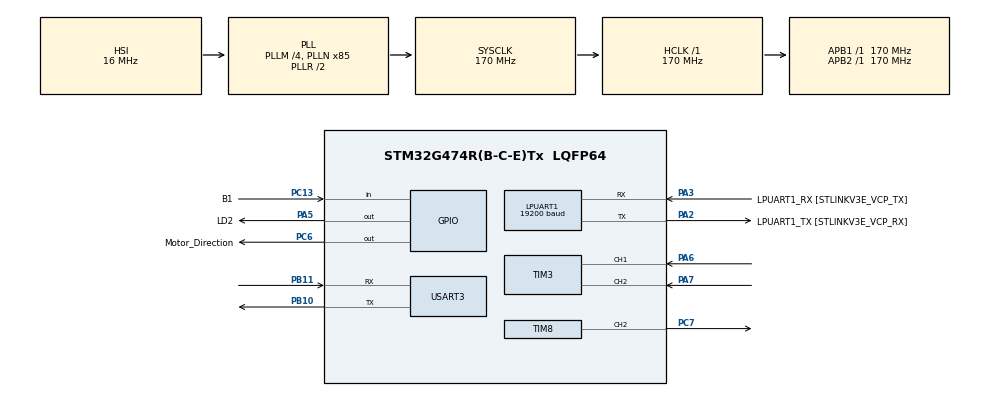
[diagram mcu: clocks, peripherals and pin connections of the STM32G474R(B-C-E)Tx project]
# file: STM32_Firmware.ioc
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LPUART1.BaudRate=19200
LPUART1.Parity=UART_PARITY_EVEN
LPUART1.WordLength=UART_WORDLENGTH_9B
Mcu.Family=STM32G4
Mcu.Name=STM32G474R(B-C-E)Tx
Mcu.Package=LQFP64
NVIC.LPUART1_IRQn=true\:0\:0\:false\:false\:true\:true\:true\:true
NVIC.PriorityGroup=NVIC_PRIORITYGROUP_4
NVIC.TIM1_UP_TIM16_IRQn=true\:0\:0\:false\:false\:true\:true\:true\:true
NVIC.TIM6_DAC_IRQn=true\:0\:0\:false\:false\:true\:true\:true\:true
NVIC.USART3_IRQn=true\:0\:0\:false\:false\:true\:true\:true\:true
PA13.GPIO_Label=T_SWDIO
PA13.Signal=SYS_JTMS-SWDIO
PA14.GPIO_Label=T_SWCLK
PA14.Signal=SYS_JTCK-SWCLK
PA2.GPIO_Label=LPUART1_TX [STLINKV3E_VCP_RX]
PA2.Mode=Asynchronous
PA2.Signal=LPUART1_TX
PA3.GPIO_Label=LPUART1_RX [STLINKV3E_VCP_TX]
PA3.Mode=Asynchronous
PA3.Signal=LPUART1_RX
PA5.GPIO_Label=LD2
PA5.Signal=GPIO_Output
PA6.Signal=S_TIM3_CH1
PA7.Signal=S_TIM3_CH2
PB10.Mode=Asynchronous
PB10.Signal=USART3_TX
PB11.Mode=Asynchronous
PB11.Signal=USART3_RX
PB3.GPIO_Label=T_SWO
PB3.Signal=SYS_JTDO-SWO
PC13.GPIO_Label=B1
PC13.Signal=GPIO_Input
PC14-OSC32_IN.GPIO_Label=RCC_OSC32_IN
PC14-OSC32_IN.Signal=RCC_OSC32_IN
PC15-OSC32_OUT.GPIO_Label=RCC_OSC32_OUT
PC15-OSC32_OUT.Signal=RCC_OSC32_OUT
PC6.GPIO_Label=Motor_Direction
PC6.Signal=GPIO_Output
PC7.Signal=S_TIM8_CH2
PF0-OSC_IN.GPIO_Label=RCC_OSC_IN
PF0-OSC_IN.Signal=RCC_OSC_IN
PF1-OSC_OUT.GPIO_Label=RCC_OSC_OUT
PF1-OSC_OUT.Signal=RCC_OSC_OUT
ProjectManager.HeapSize=0x200
ProjectManager.StackSize=0x400
ProjectManager.TargetToolchain=STM32CubeIDE
RCC.ADC12Freq_Value=170000000
RCC.ADC345Freq_Value=170000000
RCC.AHBFreq_Value=170000000
RCC.APB1Freq_Value=170000000
RCC.APB1TimFreq_Value=170000000
RCC.APB2Freq_Value=170000000
RCC.APB2TimFreq_Value=170000000
RCC.CortexFreq_Value=170000000
RCC.EXTERNAL_CLOCK_VALUE=12288000
RCC.HCLKFreq_Value=170000000
RCC.HSE_VALUE=24000000
RCC.HSI48_VALUE=48000000
RCC.HSI_VALUE=16000000
RCC.LPUART1CLockSelection=RCC_LPUART1CLKSOURCE_HSI
RCC.LSE_VALUE=32768
RCC.PLLM=RCC_PLLM_DIV4
RCC.PLLN=85
RCC.RTCClockSelection=RCC_RTCCLKSOURCE_LSE
RCC.SYSCLKFreq_VALUE=170000000
RCC.SYSCLKSource=RCC_SYSCLKSOURCE_PLLCLK
RCC.USBFreq_Value=170000000
RCC.VCOOutputFreq_Value=340000000
SH.S_TIM3_CH1.0=TIM3_CH1,Encoder_Interface
SH.S_TIM3_CH2.0=TIM3_CH2,Encoder_Interface
SH.S_TIM8_CH2.0=TIM8_CH2,PWM Generation2 CH2
TIM16.PeriodNoDither=49
TIM16.Prescaler=16999
TIM3.EncoderMode=TIM_ENCODERMODE_TI12
TIM6.AutoReloadPreload=TIM_AUTORELOAD_PRELOAD_ENABLE
TIM6.PeriodNoDither=9999
TIM6.Prescaler=169
TIM8.Channel-PWM\ Generation2\ CH2=TIM_CHANNEL_2
TIM8.PeriodNoDither=50
TIM8.Prescaler=169
USART3.VirtualMode-Asynchronous=VM_ASYNC
VP_SYS_VS_DBSignals.Mode=DisableDeadBatterySignals
VP_TIM16_VS_ClockSourceINT.Mode=Enable_Timer
VP_TIM6_VS_ClockSourceINT.Mode=Enable_Timer
board=NUCLEO-G474RE

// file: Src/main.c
/* USER CODE BEGIN Header */
/**
  ******************************************************************************
  * @file           : main.c
  * @brief          : Main program body
  ******************************************************************************
  * @attention
  *
  * Copyright (c) 2026 STMicroelectronics.
  * All rights reserved.
  *
  * This software is licensed under terms that can be found in the LICENSE file
  * in the root directory of this software component.
  * If no LICENSE file comes with this software, it is provided AS-IS.
  *
  ******************************************************************************
  */
/* USER CODE END Header */
#include "main.h"

/* USER CODE BEGIN Includes */
#include "motor_controller.h"
#include "modbus_bridge.h"
#include <string.h>
#include <stdio.h>
/* USER CODE END Includes */

UART_HandleTypeDef hlpuart1;
UART_HandleTypeDef huart3;

TIM_HandleTypeDef htim3;
TIM_HandleTypeDef htim6;
TIM_HandleTypeDef htim8;
TIM_HandleTypeDef htim16;

/* USER CODE BEGIN PV */
uint8_t rx_byte;
char rx_buffer[4];
uint8_t rx_index = 0;
uint8_t modbus_rx_byte;
/* USER CODE END PV */

void SystemClock_Config(void);
static void MX_GPIO_Init(void);
static void MX_LPUART1_UART_Init(void);
static void MX_USART3_UART_Init(void);
static void MX_TIM3_Init(void);
static void MX_TIM6_Init(void);
static void MX_TIM8_Init(void);
static void MX_TIM16_Init(void);

/* USER CODE BEGIN 0 */
void Modbus_RxCallback(UART_HandleTypeDef *huart)
{
  ModbusBridge_RxCallback(modbus_rx_byte);
  HAL_UART_Receive_IT(&hlpuart1, &modbus_rx_byte, 1);
}

void HAL_UART_ErrorCallback(UART_HandleTypeDef *huart)
{
  if (huart->Instance == LPUART1) {
    HAL_UART_Receive_IT(&hlpuart1, &modbus_rx_byte, 1);
  } else if (huart->Instance == USART3) {
    HAL_UART_Receive_IT(&huart3, &rx_byte, 1);
  }
}

void Timer_PeriodElapsedCallback(TIM_HandleTypeDef *htim)
{
  if (htim->Instance == TIM6) {
    Motor_ControlLoop();
  } else if (htim->Instance == TIM16) {
    ModbusBridge_TimerCallback();
  }
}

void Joystick_RxCallback(UART_HandleTypeDef *huart)
{
  Motor_ProcessCommand(rx_byte);
  HAL_UART_Receive_IT(&huart3, &rx_byte, 1);
}
/* USER CODE END 0 */

int main(void)
{

  /* MCU Configuration--------------------------------------------------------*/

  /* Reset of all peripherals, Initializes the Flash interface and the Systick. */
  HAL_Init();

  /* Configure the system clock */
  SystemClock_Config();

  /* Initialize all configured peripherals */
  MX_GPIO_Init();
  MX_LPUART1_UART_Init();
  MX_USART3_UART_Init();
  MX_TIM3_Init();
  MX_TIM6_Init();
  MX_TIM8_Init();
  MX_TIM16_Init();
  /* USER CODE BEGIN 2 */
  HAL_UART_RegisterCallback(&hlpuart1, HAL_UART_RX_COMPLETE_CB_ID, Modbus_RxCallback);
  HAL_UART_RegisterCallback(&huart3, HAL_UART_RX_COMPLETE_CB_ID, Joystick_RxCallback);
  HAL_UART_RegisterCallback(&hlpuart1, HAL_UART_ERROR_CB_ID, HAL_UART_ErrorCallback);
  HAL_UART_RegisterCallback(&huart3, HAL_UART_ERROR_CB_ID, HAL_UART_ErrorCallback);

  HAL_TIM_RegisterCallback(&htim6, HAL_TIM_PERIOD_ELAPSED_CB_ID, Timer_PeriodElapsedCallback);
  HAL_TIM_RegisterCallback(&htim16, HAL_TIM_PERIOD_ELAPSED_CB_ID, Timer_PeriodElapsedCallback);

  Motor_Init();
  Motor_SetVoltageLimit(12.0f, 12.0f);
  Motor_SetMotionProfile(250.0f, 500.0f, 0.1f);
  ModbusBridge_Init();

  HAL_UART_Receive_IT(&hlpuart1, &modbus_rx_byte, 1);
  HAL_UART_Receive_IT(&huart3, &rx_byte, 1);
  /* USER CODE END 2 */

  /* Infinite loop */
  /* USER CODE BEGIN WHILE */
  uint32_t last_matlab_tick = HAL_GetTick();
  while (1)
  {
    if (HAL_GetTick() - last_matlab_tick >= 20) {
      Motor_SendDataToMatlab();
      last_matlab_tick = HAL_GetTick();
    }
    ModbusBridge_UpdateRegisters();
    ModbusBridge_Process();
    /* USER CODE END WHILE */

  }
}

void SystemClock_Config(void)
{
  RCC_OscInitTypeDef RCC_OscInitStruct = {0};
  RCC_ClkInitTypeDef RCC_ClkInitStruct = {0};

  /** Configure the main internal regulator output voltage
  */
  HAL_PWREx_ControlVoltageScaling(PWR_REGULATOR_VOLTAGE_SCALE1_BOOST);

  /** Initializes the RCC Oscillators according to the specified parameters
  * in the RCC_OscInitTypeDef structure.
  */
  RCC_OscInitStruct.OscillatorType = RCC_OSCILLATORTYPE_HSI;
  RCC_OscInitStruct.HSIState = RCC_HSI_ON;
  RCC_OscInitStruct.HSICalibrationValue = RCC_HSICALIBRATION_DEFAULT;
  RCC_OscInitStruct.PLL.PLLState = RCC_PLL_ON;
  RCC_OscInitStruct.PLL.PLLSource = RCC_PLLSOURCE_HSI;
  RCC_OscInitStruct.PLL.PLLM = RCC_PLLM_DIV4;
  RCC_OscInitStruct.PLL.PLLN = 85;
  RCC_OscInitStruct.PLL.PLLP = RCC_PLLP_DIV2;
  RCC_OscInitStruct.PLL.PLLQ = RCC_PLLQ_DIV2;
  RCC_OscInitStruct.PLL.PLLR = RCC_PLLR_DIV2;
  if (HAL_RCC_OscConfig(&RCC_OscInitStruct) != HAL_OK)
  {
    Error_Handler();
  }

  /** Initializes the CPU, AHB and APB buses clocks
  */
  RCC_ClkInitStruct.ClockType = RCC_CLOCKTYPE_HCLK|RCC_CLOCKTYPE_SYSCLK
                              |RCC_CLOCKTYPE_PCLK1|RCC_CLOCKTYPE_PCLK2;
  RCC_ClkInitStruct.SYSCLKSource = RCC_SYSCLKSOURCE_PLLCLK;
  RCC_ClkInitStruct.AHBCLKDivider = RCC_SYSCLK_DIV1;
  RCC_ClkInitStruct.APB1CLKDivider = RCC_HCLK_DIV1;
  RCC_ClkInitStruct.APB2CLKDivider = RCC_HCLK_DIV1;

  if (HAL_RCC_ClockConfig(&RCC_ClkInitStruct, FLASH_LATENCY_4) != HAL_OK)
  {
    Error_Handler();
  }
}

static void MX_LPUART1_UART_Init(void)
{

  hlpuart1.Instance = LPUART1;
  hlpuart1.Init.BaudRate = 19200;
  hlpuart1.Init.WordLength = UART_WORDLENGTH_9B;
  hlpuart1.Init.StopBits = UART_STOPBITS_1;
  hlpuart1.Init.Parity = UART_PARITY_EVEN;
  hlpuart1.Init.Mode = UART_MODE_TX_RX;
  hlpuart1.Init.HwFlowCtl = UART_HWCONTROL_NONE;
  hlpuart1.Init.OneBitSampling = UART_ONE_BIT_SAMPLE_DISABLE;
  hlpuart1.Init.ClockPrescaler = UART_PRESCALER_DIV1;
  hlpuart1.AdvancedInit.AdvFeatureInit = UART_ADVFEATURE_NO_INIT;
  if (HAL_UART_Init(&hlpuart1) != HAL_OK)
  {
    Error_Handler();
  }
  if (HAL_UARTEx_SetTxFifoThreshold(&hlpuart1, UART_TXFIFO_THRESHOLD_1_8) != HAL_OK)
  {
    Error_Handler();
  }
  if (HAL_UARTEx_SetRxFifoThreshold(&hlpuart1, UART_RXFIFO_THRESHOLD_1_8) != HAL_OK)
  {
    Error_Handler();
  }
  if (HAL_UARTEx_DisableFifoMode(&hlpuart1) != HAL_OK)
  {
    Error_Handler();
  }

}

static void MX_USART3_UART_Init(void)
{

  huart3.Instance = USART3;
  huart3.Init.BaudRate = 115200;
  huart3.Init.WordLength = UART_WORDLENGTH_8B;
  huart3.Init.StopBits = UART_STOPBITS_1;
  huart3.Init.Parity = UART_PARITY_NONE;
  huart3.Init.Mode = UART_MODE_TX_RX;
  huart3.Init.HwFlowCtl = UART_HWCONTROL_NONE;
  huart3.Init.OverSampling = UART_OVERSAMPLING_16;
  huart3.Init.OneBitSampling = UART_ONE_BIT_SAMPLE_DISABLE;
  huart3.Init.ClockPrescaler = UART_PRESCALER_DIV1;
  huart3.AdvancedInit.AdvFeatureInit = UART_ADVFEATURE_NO_INIT;
  if (HAL_UART_Init(&huart3) != HAL_OK)
  {
    Error_Handler();
  }
  if (HAL_UARTEx_SetTxFifoThreshold(&huart3, UART_TXFIFO_THRESHOLD_1_8) != HAL_OK)
  {
    Error_Handler();
  }
  if (HAL_UARTEx_SetRxFifoThreshold(&huart3, UART_RXFIFO_THRESHOLD_1_8) != HAL_OK)
  {
    Error_Handler();
  }
  if (HAL_UARTEx_DisableFifoMode(&huart3) != HAL_OK)
  {
    Error_Handler();
  }

}

static void MX_TIM3_Init(void)
{

  TIM_Encoder_InitTypeDef sConfig = {0};
  TIM_MasterConfigTypeDef sMasterConfig = {0};

  htim3.Instance = TIM3;
  htim3.Init.Prescaler = 0;
  htim3.Init.CounterMode = TIM_COUNTERMODE_UP;
  htim3.Init.Period = 65535;
  htim3.Init.ClockDivision = TIM_CLOCKDIVISION_DIV1;
  htim3.Init.AutoReloadPreload = TIM_AUTORELOAD_PRELOAD_DISABLE;
  sConfig.EncoderMode = TIM_ENCODERMODE_TI12;
  sConfig.IC1Polarity = TIM_ICPOLARITY_RISING;
  sConfig.IC1Selection = TIM_ICSELECTION_DIRECTTI;
  sConfig.IC1Prescaler = TIM_ICPSC_DIV1;
  sConfig.IC1Filter = 0;
  sConfig.IC2Polarity = TIM_ICPOLARITY_RISING;
  sConfig.IC2Selection = TIM_ICSELECTION_DIRECTTI;
  sConfig.IC2Prescaler = TIM_ICPSC_DIV1;
  sConfig.IC2Filter = 0;
  if (HAL_TIM_Encoder_Init(&htim3, &sConfig) != HAL_OK)
  {
    Error_Handler();
  }
  sMasterConfig.MasterOutputTrigger = TIM_TRGO_RESET;
  sMasterConfig.MasterSlaveMode = TIM_MASTERSLAVEMODE_DISABLE;
  if (HAL_TIMEx_MasterConfigSynchronization(&htim3, &sMasterConfig) != HAL_OK)
  {
    Error_Handler();
  }

}

static void MX_TIM6_Init(void)
{

  TIM_MasterConfigTypeDef sMasterConfig = {0};

  htim6.Instance = TIM6;
  htim6.Init.Prescaler = 169;
  htim6.Init.CounterMode = TIM_COUNTERMODE_UP;
  htim6.Init.Period = 9999;
  htim6.Init.AutoReloadPreload = TIM_AUTORELOAD_PRELOAD_ENABLE;
  if (HAL_TIM_Base_Init(&htim6) != HAL_OK)
  {
    Error_Handler();
  }
  sMasterConfig.MasterOutputTrigger = TIM_TRGO_RESET;
  sMasterConfig.MasterSlaveMode = TIM_MASTERSLAVEMODE_DISABLE;
  if (HAL_TIMEx_MasterConfigSynchronization(&htim6, &sMasterConfig) != HAL_OK)
  {
    Error_Handler();
  }

}

static void MX_TIM8_Init(void)
{

  TIM_MasterConfigTypeDef sMasterConfig = {0};
  TIM_OC_InitTypeDef sConfigOC = {0};
  TIM_BreakDeadTimeConfigTypeDef sBreakDeadTimeConfig = {0};

  htim8.Instance = TIM8;
  htim8.Init.Prescaler = 169;
  htim8.Init.CounterMode = TIM_COUNTERMODE_UP;
  htim8.Init.Period = 50;
  htim8.Init.ClockDivision = TIM_CLOCKDIVISION_DIV1;
  htim8.Init.RepetitionCounter = 0;
  htim8.Init.AutoReloadPreload = TIM_AUTORELOAD_PRELOAD_DISABLE;
  if (HAL_TIM_PWM_Init(&htim8) != HAL_OK)
  {
    Error_Handler();
  }
  sMasterConfig.MasterOutputTrigger = TIM_TRGO_RESET;
  sMasterConfig.MasterOutputTrigger2 = TIM_TRGO2_RESET;
  sMasterConfig.MasterSlaveMode = TIM_MASTERSLAVEMODE_DISABLE;
  if (HAL_TIMEx_MasterConfigSynchronization(&htim8, &sMasterConfig) != HAL_OK)
  {
    Error_Handler();
  }
  sConfigOC.OCMode = TIM_OCMODE_PWM1;
  sConfigOC.Pulse = 0;
  sConfigOC.OCPolarity = TIM_OCPOLARITY_HIGH;
  sConfigOC.OCNPolarity = TIM_OCNPOLARITY_HIGH;
  sConfigOC.OCFastMode = TIM_OCFAST_DISABLE;
  sConfigOC.OCIdleState = TIM_OCIDLESTATE_RESET;
  sConfigOC.OCNIdleState = TIM_OCNIDLESTATE_RESET;
  if (HAL_TIM_PWM_ConfigChannel(&htim8, &sConfigOC, TIM_CHANNEL_2) != HAL_OK)
  {
    Error_Handler();
  }
  sBreakDeadTimeConfig.OffStateRunMode = TIM_OSSR_DISABLE;
  sBreakDeadTimeConfig.OffStateIDLEMode = TIM_OSSI_DISABLE;
  sBreakDeadTimeConfig.LockLevel = TIM_LOCKLEVEL_OFF;
  sBreakDeadTimeConfig.DeadTime = 0;
  sBreakDeadTimeConfig.BreakState = TIM_BREAK_DISABLE;
  sBreakDeadTimeConfig.BreakPolarity = TIM_BREAKPOLARITY_HIGH;
  sBreakDeadTimeConfig.BreakFilter = 0;
  sBreakDeadTimeConfig.BreakAFMode = TIM_BREAK_AFMODE_INPUT;
  sBreakDeadTimeConfig.Break2State = TIM_BREAK2_DISABLE;
  sBreakDeadTimeConfig.Break2Polarity = TIM_BREAK2POLARITY_HIGH;
  sBreakDeadTimeConfig.Break2Filter = 0;
  sBreakDeadTimeConfig.Break2AFMode = TIM_BREAK_AFMODE_INPUT;
  sBreakDeadTimeConfig.AutomaticOutput = TIM_AUTOMATICOUTPUT_DISABLE;
  if (HAL_TIMEx_ConfigBreakDeadTime(&htim8, &sBreakDeadTimeConfig) != HAL_OK)
  {
    Error_Handler();
  }
  HAL_TIM_MspPostInit(&htim8);

}

static void MX_TIM16_Init(void)
{

  htim16.Instance = TIM16;
  htim16.Init.Prescaler = 16999;
  htim16.Init.CounterMode = TIM_COUNTERMODE_UP;
  htim16.Init.Period = 49;
  htim16.Init.ClockDivision = TIM_CLOCKDIVISION_DIV1;
  htim16.Init.RepetitionCounter = 0;
  htim16.Init.AutoReloadPreload = TIM_AUTORELOAD_PRELOAD_DISABLE;
  if (HAL_TIM_Base_Init(&htim16) != HAL_OK)
  {
    Error_Handler();
  }

}

static void MX_GPIO_Init(void)
{
  GPIO_InitTypeDef GPIO_InitStruct = {0};

  /* GPIO Ports Clock Enable */
  __HAL_RCC_GPIOC_CLK_ENABLE();
  __HAL_RCC_GPIOF_CLK_ENABLE();
  __HAL_RCC_GPIOA_CLK_ENABLE();
  __HAL_RCC_GPIOB_CLK_ENABLE();

  /*Configure GPIO pin Output Level */
  HAL_GPIO_WritePin(LD2_GPIO_Port, LD2_Pin, GPIO_PIN_RESET);

  /*Configure GPIO pin Output Level */
  HAL_GPIO_WritePin(Motor_Direction_GPIO_Port, Motor_Direction_Pin, GPIO_PIN_RESET);

  /*Configure GPIO pin : B1_Pin */
  GPIO_InitStruct.Pin = B1_Pin;
  GPIO_InitStruct.Mode = GPIO_MODE_INPUT;
  GPIO_InitStruct.Pull = GPIO_NOPULL;
  HAL_GPIO_Init(B1_GPIO_Port, &GPIO_InitStruct);

  /*Configure GPIO pin : LD2_Pin */
  GPIO_InitStruct.Pin = LD2_Pin;
  GPIO_InitStruct.Mode = GPIO_MODE_OUTPUT_PP;
  GPIO_InitStruct.Pull = GPIO_NOPULL;
  GPIO_InitStruct.Speed = GPIO_SPEED_FREQ_LOW;
  HAL_GPIO_Init(LD2_GPIO_Port, &GPIO_InitStruct);

  /*Configure GPIO pin : Motor_Direction_Pin */
  GPIO_InitStruct.Pin = Motor_Direction_Pin;
  GPIO_InitStruct.Mode = GPIO_MODE_OUTPUT_PP;
  GPIO_InitStruct.Pull = GPIO_NOPULL;
  GPIO_InitStruct.Speed = GPIO_SPEED_FREQ_LOW;
  HAL_GPIO_Init(Motor_Direction_GPIO_Port, &GPIO_InitStruct);

}

/* USER CODE BEGIN 4 */
int _write(int file, char *ptr, int len)
{
  HAL_UART_Transmit(&huart3, (uint8_t*)ptr, len, HAL_MAX_DELAY);
  return len;
}
/* USER CODE END 4 */

void Error_Handler(void)
{
  __disable_irq();
  while (1)
  {
  }
}
